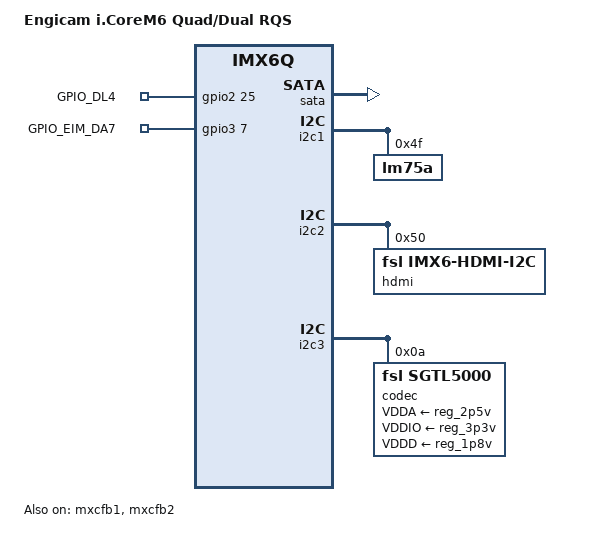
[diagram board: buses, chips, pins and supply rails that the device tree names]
/*
 * Copyright (C) 2013 Freescale Semiconductor, Inc.
 *
 * This program is free software; you can redistribute it and/or modify
 * it under the terms of the GNU General Public License version 2 as
 * published by the Free Software Foundation.
 */

/dts-v1/;

#include "imx6q.dtsi"
#include "icorem6qdl-rqs.dtsi"

/ {
	model = "Engicam i.CoreM6 Quad/Dual RQS";
	compatible = "fsl,imx6-icore-rqs", "fsl,imx6q";
	
	aliases {
		mmc1 = &usdhc4;
		mmc0 = &usdhc3;
		mmc2 = &usdhc1;
	};

	sound {
		compatible = "fsl,imx6-icore-sgtl5000",
			     "fsl,imx-audio-sgtl5000";
		model = "imx6q-icore-sgtl5000";
		cpu-dai = <&ssi1>;
		audio-codec = <&codec>;
		audio-routing =
			"MIC_IN", "Mic Jack",
			"Mic Jack", "Mic Bias",
			"Headphone Jack", "HP_OUT";
		mux-int-port = <1>;
		mux-ext-port = <4>;
	};

	gpio_export {
		compatible = "gpio-export";
		#size-cells = <0>;
		GPIO_DL4 {
		        gpio-export,name = "GPIO_DL4";
			gpio-export,output = <1>;
                        gpio-export,direction_may_change;
		        gpios = <&gpio2 25 0>;
		};
		GPIO_EIM_DA7 {
			gpio-export,name = "GPIO_EIM_DA7";
			gpio-export,input = <1>;
			gpios = <&gpio3 7 0>;
		};		
	};

};

&ldb {
	ipu_id = <0>;
	sec_ipu_id = <0>;
};

&mxcfb1 {
	status = "okay";
};

&mxcfb2 {
	status = "okay";
};

&sata {
	status = "okay";
};

/* To be enabled for PCI peripheral.
   Please enable also the PCI support kernel options:
   CONFIG_PCI and PCI_IMX6

   i.Core RQS rev. B needed for PCIe

&pcie {
	power-on-gpio = <&gpio3 19 0>;
	reset-gpio = <&gpio3 29 0>;
	status = "okay";
};
*/

&i2c1 {

	lm75a@4F {
		compatible = "lm75a";
		reg = <0x4F>;
	};

};

&i2c2 {

	hdmi: edid@50 {
		compatible = "fsl,imx6-hdmi-i2c";
		reg = <0x50>;
	};

};


&i2c3 {

	codec: sgtl5000@0a {
		compatible = "fsl,sgtl5000";
		reg = <0x0a>;
		clocks = <&clks 201>;
		VDDA-supply = <&reg_2p5v>;
		VDDIO-supply = <&reg_3p3v>;
		VDDD-supply = <&reg_1p8v>;
	};

};

&iomuxc {
	pinctrl-names = "default";
	pinctrl-0 = <&pinctrl_hog>;	
	hog {
		pinctrl_hog: hoggrp {
			fsl,pins = <
				MX6QDL_PAD_EIM_D19__GPIO3_IO19 0x1f059 /* not used pin for ADV7180 driver compatibility */
				MX6QDL_PAD_EIM_OE__GPIO2_IO25 0x1f059 /* LED DL4*/
				MX6QDL_PAD_EIM_DA7__GPIO3_IO07 0x1f059 /* EIM_DA07 forced to GPIO in */
			>;
		};
	};
};
